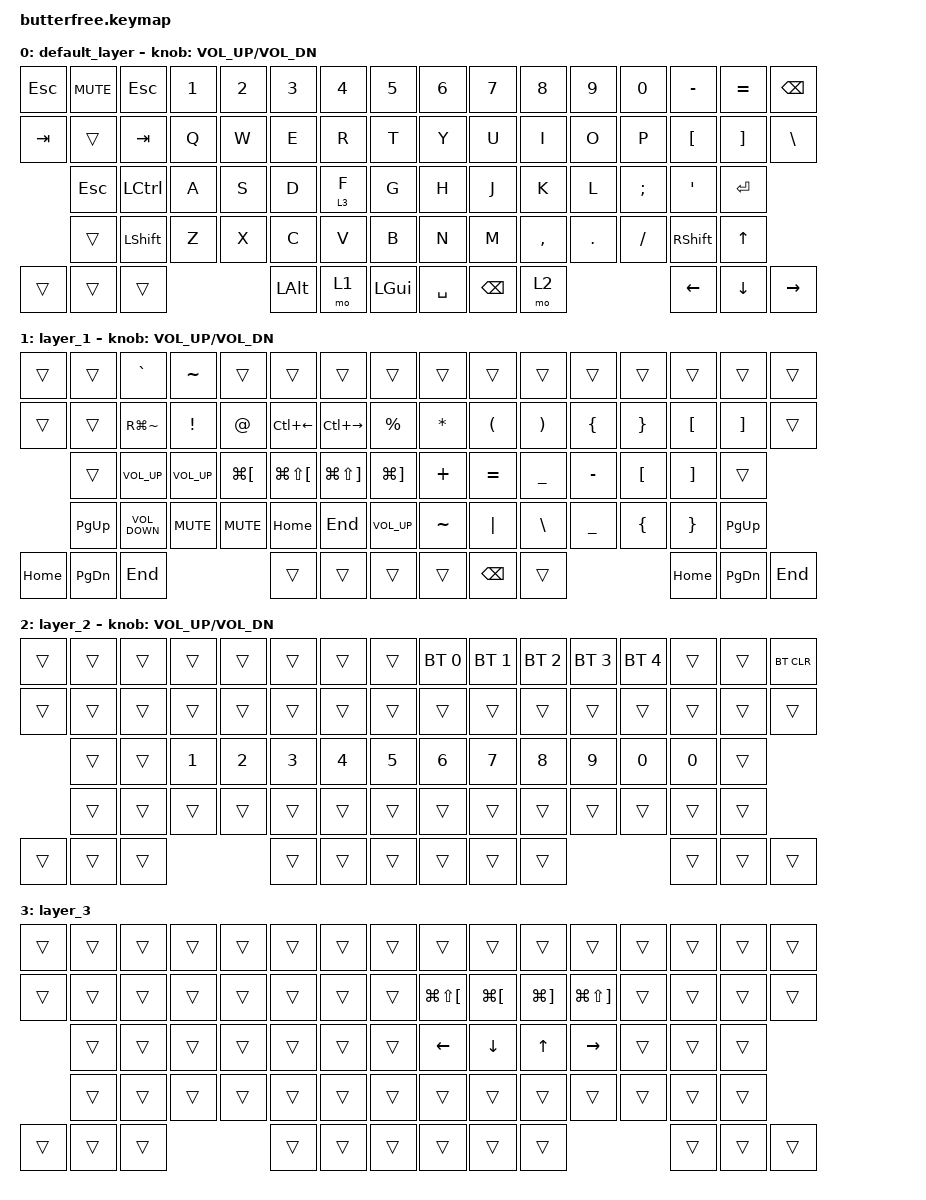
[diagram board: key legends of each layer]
/*
 * Copyright (c) 2020 The ZMK Contributors
 *
 * SPDX-License-Identifier: MIT
 */

#include <behaviors.dtsi>
#include <dt-bindings/zmk/bt.h>
#include <dt-bindings/zmk/keys.h>

/ {
    keymap {
        compatible = "zmk,keymap";

        default_layer {
            bindings = <
&kp ESC  &kp K_MUTE  &kp ESCAPE        &kp N1  &kp N2  &kp N3        &kp N4   &kp N5    &kp N6     &kp N7         &kp N8     &kp N9   &kp N0    &kp MINUS         &kp EQUAL          &kp BSPC
&kp TAB  &trans      &kp TAB           &kp Q   &kp W   &kp E         &kp R    &kp T     &kp Y      &kp U          &kp I      &kp O    &kp P     &kp LEFT_BRACKET  &kp RIGHT_BRACKET  &kp BSLH
         &kp ESCAPE  &kp LEFT_CONTROL  &kp A   &kp S   &kp D         &lt 3 F  &kp G     &kp H      &kp J          &kp K      &kp L    &kp SEMI  &kp SQT           &kp RET
         &trans      &kp LSHFT         &kp Z   &kp X   &kp C         &kp V    &kp B     &kp N      &kp M          &kp COMMA  &kp DOT  &kp FSLH  &kp RSHIFT        &kp UP
&trans   &trans      &trans                            &kp LEFT_ALT  &mo 1    &kp LGUI  &kp SPACE  &kp BACKSPACE  &mo 2                         &kp LEFT_ARROW    &kp DOWN_ARROW     &kp RIGHT_ARROW
            >;

            sensor-bindings = <&inc_dec_kp C_VOL_UP C_VOL_DN>;
        };

        layer_1 {
            bindings = <
&trans    &trans         &kp GRAVE          &kp TILDE        &trans                &trans                    &trans                     &trans                 &trans        &trans                &trans                 &trans          &trans            &trans             &trans             &trans
&trans    &trans         &kp RG(TILDE)      &kp EXCLAMATION  &kp AT_SIGN           &kp LC(LEFT_ARROW)        &kp LC(RIGHT_ARROW)        &kp PERCENT            &kp ASTERISK  &kp LEFT_PARENTHESIS  &kp RIGHT_PARENTHESIS  &kp LEFT_BRACE  &kp RIGHT_BRACE   &kp LEFT_BRACKET   &kp RIGHT_BRACKET  &trans
          &trans         &kp C_VOLUME_UP    &kp C_VOLUME_UP  &kp LG(LEFT_BRACKET)  &kp LG(LS(LEFT_BRACKET))  &kp LG(LS(RIGHT_BRACKET))  &kp LG(RIGHT_BRACKET)  &kp PLUS      &kp EQUAL             &kp UNDERSCORE         &kp MINUS       &kp LEFT_BRACKET  &kp RIGHT_BRACKET  &trans
          &kp PAGE_UP    &kp C_VOLUME_DOWN  &kp K_MUTE       &kp K_MUTE            &kp HOME                  &kp END                    &kp C_VOLUME_UP        &kp TILDE     &kp PIPE              &kp BACKSLASH          &kp UNDERSCORE  &kp LEFT_BRACE    &kp RIGHT_BRACE    &kp PAGE_UP
&kp HOME  &kp PAGE_DOWN  &kp END                                                   &trans                    &trans                     &trans                 &trans        &kp BACKSPACE         &trans                                                   &kp HOME           &kp PAGE_DOWN      &kp END
            >;

            sensor-bindings = <&inc_dec_kp C_VOL_UP C_VOL_DN>;
        };

        layer_2 {
            bindings = <
&trans  &trans  &trans  &trans  &trans  &trans  &trans  &trans  &bt BT_SEL 0  &bt BT_SEL 1  &bt BT_SEL 2  &bt BT_SEL 3  &bt BT_SEL 4  &trans  &trans  &bt BT_CLR
&trans  &trans  &trans  &trans  &trans  &trans  &trans  &trans  &trans        &trans        &trans        &trans        &trans        &trans  &trans  &trans
        &trans  &trans  &kp N1  &kp N2  &kp N3  &kp N4  &kp N5  &kp N6        &kp N7        &kp N8        &kp N9        &kp N0        &kp N0  &trans
        &trans  &trans  &trans  &trans  &trans  &trans  &trans  &trans        &trans        &trans        &trans        &trans        &trans  &trans
&trans  &trans  &trans                  &trans  &trans  &trans  &trans        &trans        &trans                                    &trans  &trans  &trans
            >;

            sensor-bindings = <&inc_dec_kp C_VOL_UP C_VOL_DN>;
        };

        layer_3 {
            bindings = <
&trans  &trans  &trans  &trans  &trans  &trans  &trans  &trans  &trans                    &trans                &trans                 &trans                     &trans  &trans  &trans  &trans
&trans  &trans  &trans  &trans  &trans  &trans  &trans  &trans  &kp LG(LS(LEFT_BRACKET))  &kp LG(LEFT_BRACKET)  &kp LG(RIGHT_BRACKET)  &kp LG(LS(RIGHT_BRACKET))  &trans  &trans  &trans  &trans
        &trans  &trans  &trans  &trans  &trans  &trans  &trans  &kp LEFT                  &kp DOWN              &kp UP                 &kp RIGHT                  &trans  &trans  &trans
        &trans  &trans  &trans  &trans  &trans  &trans  &trans  &trans                    &trans                &trans                 &trans                     &trans  &trans  &trans
&trans  &trans  &trans                  &trans  &trans  &trans  &trans                    &trans                &trans                                                    &trans  &trans  &trans
            >;
        };
    };
};
